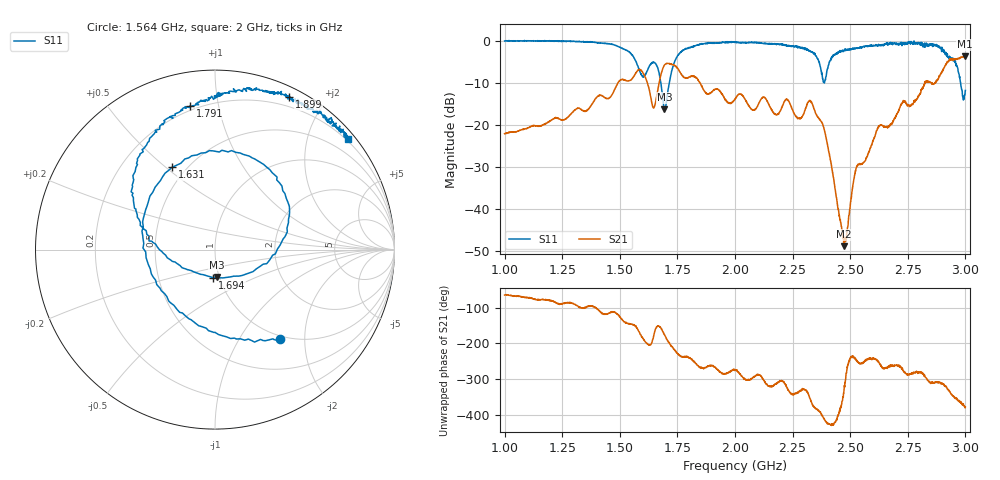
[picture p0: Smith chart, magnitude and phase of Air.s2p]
# HZ S RI R 50
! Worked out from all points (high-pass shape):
!   2020 points, 1 GHz to 3 GHz, reference 50 ohm
!   highest |S21| = -3.66 dB at 2.998 GHz (marker M1); lowest = -48.9 dB at 2.472 GHz (marker M2)
!   |S21| within 3 dB of the highest: 1.686 GHz to 1.753 GHz (66.91 MHz wide, 3.89 % of centre); 2.905 GHz to end of sweep
!   lowest |S11| = -16.3 dB at 1.693 GHz (marker M3), VSWR 1.36, Z = 48.7 - j15.2 ohm
!   |S11| at or under -10 dB: 1.678 GHz to 1.715 GHz (36.68 MHz wide, 2.16 % of centre); 2.387707 GHz to 2.387986 GHz (279.7 kHz wide, 0.0117 % of centre); 2.979 GHz to end of sweep
!   S12 and S22 are empty: the file has one direction only
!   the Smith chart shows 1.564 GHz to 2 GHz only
!   S11 on the Smith chart (normalised r, x): 1.564 GHz: 0.95, -1.51; 1.631 GHz: 0.42, +0.53; 1.694 GHz: 0.93, -0.30; 1.791 GHz: 0.18, +0.83; 1.899 GHz: 0.10, +1.59; 2 GHz: 0.16, +2.75
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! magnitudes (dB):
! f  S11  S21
! 1 GHz  0.0  -22.1
! 1.334 GHz  -0.2  -16.5
! 1.564 GHz  -4.2  -8.2
! 1.631 GHz  -5.7  -12.5
! 1.649 GHz  -5.1  -15.8
! 1.668 GHz  -7.1  -10.9
! 1.693 GHz  -16.3  -5.8
! 1.694 GHz  -16.1  -5.7
! 1.74 GHz  -4.7  -5.9
! 1.791 GHz  -1.8  -8.8
! 1.899 GHz  -0.5  -12.1
! 2 GHz  -0.3  -13.9
! 2 GHz  -0.3  -13.8
! 2.279 GHz  -1.5  -18.5
! 2.334 GHz  -2.7  -14.9
! 2.388 GHz  -10.0  -21.2
! 2.472 GHz  -2.5  -48.9
! 2.528 GHz  -1.7  -29.8
! 2.667 GHz  -0.7  -20.4
! 2.883 GHz  -1.6  -9.0
! 2.998 GHz  -12.9  -3.7
! 3 GHz  -11.8  -3.7
